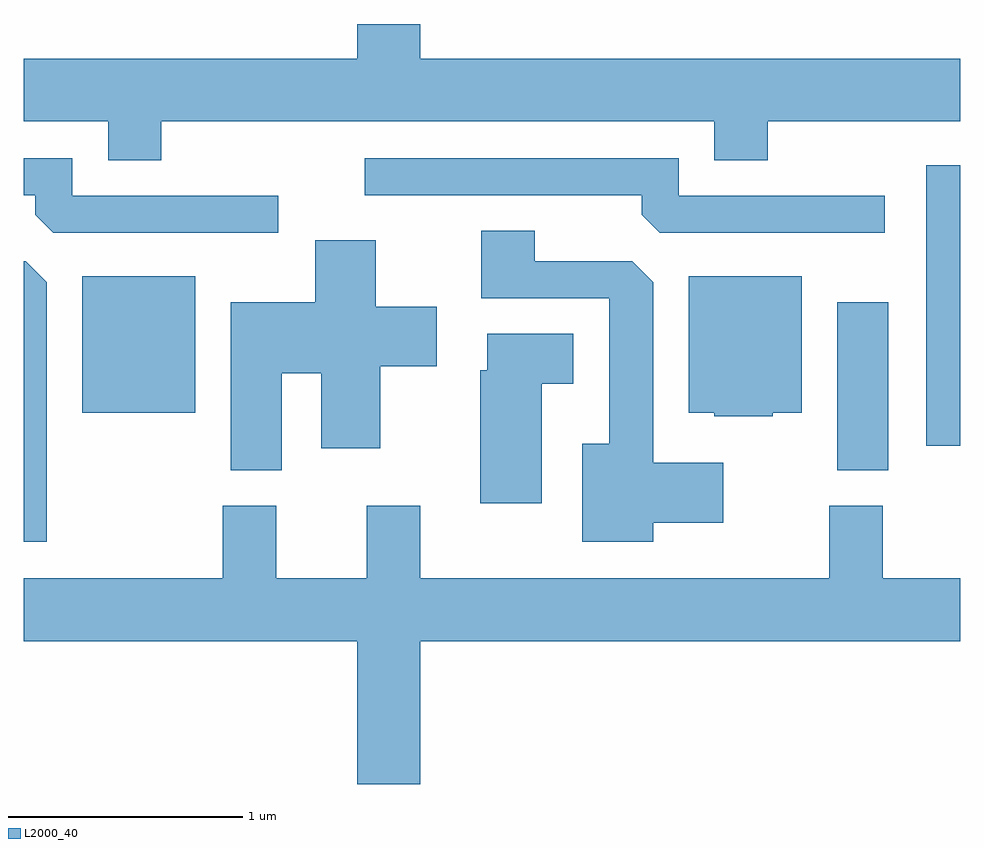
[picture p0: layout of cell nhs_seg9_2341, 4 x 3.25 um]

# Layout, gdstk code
import gdstk
lib = gdstk.Library(unit=1e-6, precision=1e-09)
def R(c, l, rs):  # rectangles x0, y0, x1, y1
    for r in rs: c.add(gdstk.rectangle(r[:2], r[2:], *l))
def P(c, l, *ps):  # polygons
    for p in ps: c.add(gdstk.Polygon(p, *l))
L2000_40 = (2000, 40)

nhs_seg9_2341 = lib.new_cell('nhs_seg9_2341')
R(nhs_seg9_2341, L2000_40, [(257.086,2012.526,257.304,2013.244), (257.466,2012.631,257.611,2013.829), (253.861,2012.771,254.344,2013.354)])
P(nhs_seg9_2341, L2000_40, [(254.199,2014.016),(256.561,2014.016),(256.561,2013.851),(256.789,2013.851),(256.789,2014.016),(257.611,2014.016),(257.611,2014.284),(255.304,2014.284),(255.304,2014.432),(255.036,2014.432),(255.036,2014.284),(253.611,2014.284),(253.611,2014.016),(253.971,2014.016),(253.971,2013.851),(254.199,2013.851)],
  [(254.698,2013.699),(253.819,2013.699),(253.819,2013.859),(253.611,2013.859),(253.611,2013.701),(253.661,2013.701),(253.661,2013.617),(253.737,2013.541),(254.698,2013.541)],
  [(257.288,2013.699),(256.409,2013.699),(256.409,2013.859),(255.068,2013.859),(255.068,2013.701),(256.251,2013.701),(256.251,2013.617),(256.327,2013.541),(257.288,2013.541)],
  [(256.299,2012.301),(256.599,2012.301),(256.599,2012.559),(256.299,2012.559),(256.299,2013.329),(256.209,2013.419),(255.794,2013.419),(255.794,2013.549),(255.566,2013.549),(255.566,2013.261),(256.111,2013.261),(256.111,2012.639),(255.996,2012.639),(255.996,2012.221),(256.299,2012.221)],
  [(254.714,2012.941),(254.881,2012.941),(254.881,2012.621),(255.134,2012.621),(255.134,2012.971),(255.374,2012.971),(255.374,2013.224),(255.114,2013.224),(255.114,2013.509),(254.856,2013.509),(254.856,2013.244),(254.496,2013.244),(254.496,2012.526),(254.714,2012.526)],
  [(253.709,2013.329),(253.619,2013.419),(253.611,2013.419),(253.611,2012.221),(253.709,2012.221)],
  [(256.81,2012.771),(256.934,2012.771),(256.934,2013.354),(256.451,2013.354),(256.451,2012.771),(256.56,2012.771),(256.56,2012.756),(256.81,2012.756)],
  [(255.824,2012.896),(255.959,2012.896),(255.959,2013.109),(255.591,2013.109),(255.591,2012.954),(255.561,2012.954),(255.561,2012.386),(255.824,2012.386)],
  [(257.611,2012.064),(257.279,2012.064),(257.279,2012.374),(257.051,2012.374),(257.051,2012.064),(255.304,2012.064),(255.304,2012.374),(255.076,2012.374),(255.076,2012.064),(254.689,2012.064),(254.689,2012.374),(254.461,2012.374),(254.461,2012.064),(253.611,2012.064),(253.611,2011.796),(255.036,2011.796),(255.036,2011.186),(255.304,2011.186),(255.304,2011.796),(257.611,2011.796)])

lib.write_gds('nhs_seg9_2341.gds')
